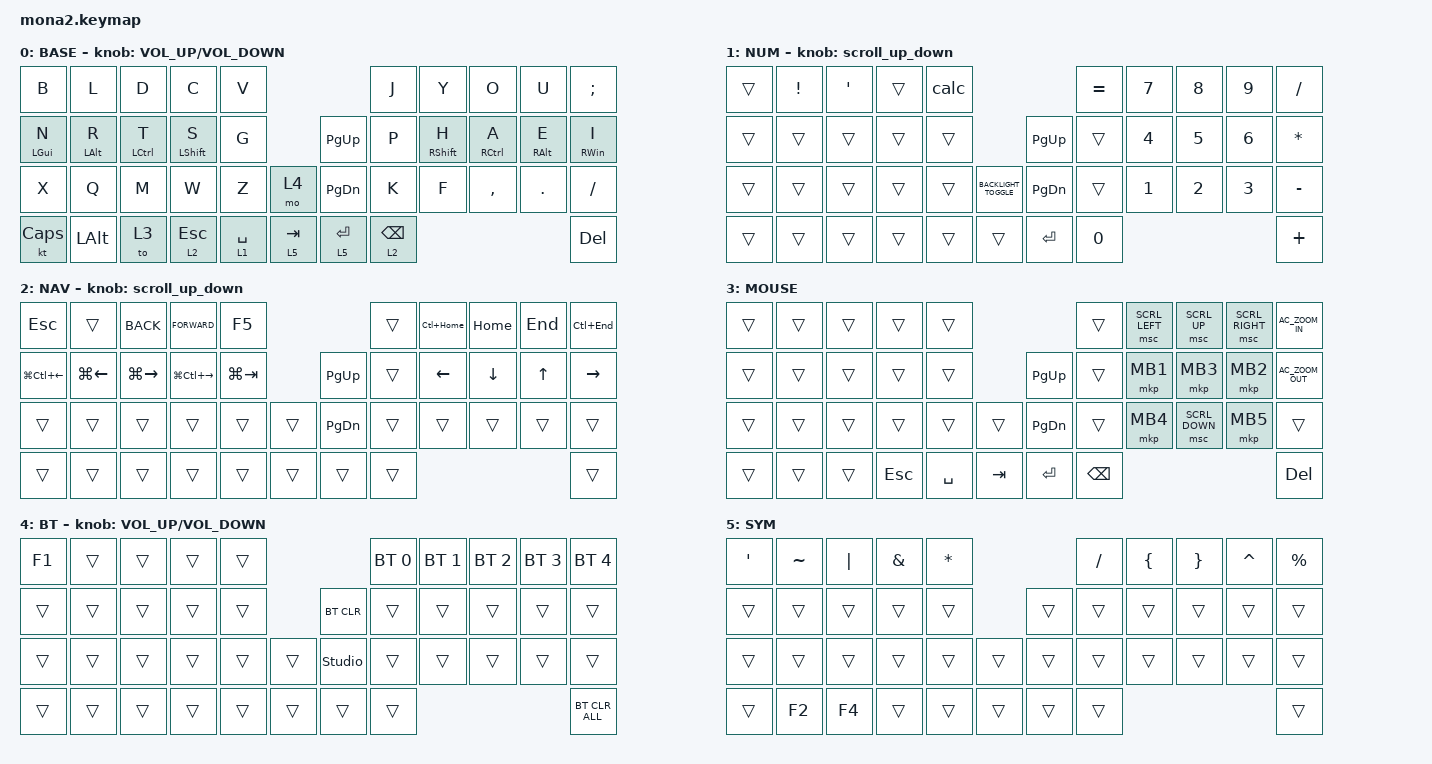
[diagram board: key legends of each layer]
/*
 * SPDX-License-Identifier: MIT
 */

#include <input/processors.dtsi>
#include <dt-bindings/zmk/input_transform.h>
#include <zephyr/dt-bindings/input/input-event-codes.h>
#include <behaviors.dtsi>
#include <dt-bindings/zmk/bt.h>
#include <dt-bindings/zmk/keys.h>
#include <dt-bindings/zmk/pointing.h>

/ {
    combos {
        compatible = "zmk,combos";

        combo1 {
            bindings = <&kp LEFT_BRACKET>;
            key-positions = <2 1>;
            layers = <0>;
        };

        combo2 {
            bindings = <&kp RIGHT_BRACKET>;
            key-positions = <7 8>;
            layers = <0>;
        };

        combo3 {
            timeout-ms = <100>;
            bindings = <&kp LEFT_PARENTHESIS>;
            key-positions = <12 11>;
            slow-release;
        };

        combo4 {
            timeout-ms = <100>;
            bindings = <&kp RIGHT_PARENTHESIS>;
            key-positions = <18 19>;
            slow-release;
        };

        combo5 {
            timeout-ms = <100>;
            bindings = <&kp LEFT_BRACE>;
            key-positions = <23 22>;
            slow-release;
        };

        combo6 {
            timeout-ms = <100>;
            bindings = <&kp RIGHT_BRACE>;
            key-positions = <30 31>;
            slow-release;
        };

        combo7 {
            timeout-ms = <150>;
            bindings = <&kp BACKSLASH>;
            key-positions = <4 5>;
            slow-release;
        };

        combo8 {
            timeout-ms = <150>;
            bindings = <&kp APOSTROPHE>;
            key-positions = <14 16>;
            slow-release;
        };

        undescore {
            bindings = <&kp UNDER>;
            key-positions = <7 8 6>;
        };

        amp {
            bindings = <&kp AMPERSAND>;
            key-positions = <25 28>;
        };

        type {
            bindings = <&type0>;
            key-positions = <41 33>;
        };

        CSP {
            bindings = <&CSP>;
            key-positions = <21 33>;
        };
    };

    behaviors {
        hm: hm {
            compatible = "zmk,behavior-hold-tap";
            label = "HM";
            bindings = <&kp>, <&kp>;

            #binding-cells = <2>;
            quick-tap-ms = <150>;
            flavor = "tap-preferred";
            hold-trigger-on-release;
            tapping-term-ms = <250>;
        };

        ltq: ltq {
            compatible = "zmk,behavior-hold-tap";
            label = "LTQ";
            bindings = <&mo>, <&kp>;

            #binding-cells = <2>;
            tapping-term-ms = <200>;
            quick-tap-ms = <180>;
        };

        scroll_up_down: mouse_wheel_up_down {
            compatible = "zmk,behavior-sensor-rotate";
            #sensor-binding-cells = <0>;
            bindings = <&msc SCRL_DOWN>, <&msc SCRL_UP>;

            tap-ms = <20>;
        };
    };

    macros {
        type0: type0 {
            compatible = "zmk,behavior-macro";
            #binding-cells = <0>;
            bindings = <&kp N3 &kp N0 &kp N0 &kp DLLR &kp LS(L) &kp I &kp P &kp K &kp N &kp O &kp LS(T) &kp N3 &kp N5>;
            label = "TYPE0";
        };

        CSP: CSP {
            compatible = "zmk,behavior-macro";
            #binding-cells = <0>;
            bindings = <&kp LS(LC(P))>;
            label = "CSP";
        };

        calc: calc {
            compatible = "zmk,behavior-macro";
            #binding-cells = <0>;
            bindings = <&kp LG(R) &kp C &kp A &kp L &kp C &kp ENTER>;
            label = "CALC";
        };
    };

    keymap {
        compatible = "zmk,keymap";

        BASE {
            bindings = <
&kp B           &kp L           &kp D        &kp C             &kp V                                      &kp J            &kp Y              &kp O        &kp U            &kp SEMICOLON
&hm LEFT_GUI N  &hm LEFT_ALT R  &hm LCTRL T  &hm LEFT_SHIFT S  &kp G                       &kp PAGE_UP    &kp P            &hm RIGHT_SHIFT H  &hm RCTRL A  &hm RIGHT_ALT E  &hm RIGHT_WIN I
&kp X           &kp Q           &kp M        &kp W             &kp Z        &mo 4          &kp PAGE_DOWN  &kp K            &kp F              &kp COMMA    &kp PERIOD       &kp SLASH
&kt CAPSLOCK    &kp LALT        &to 3        &lt 2 ESC         &lt 1 SPACE  &lt 5 TAB      &lt 5 ENTER    &lt 2 BACKSPACE                                                   &kp DEL
            >;

            sensor-bindings = <&inc_dec_kp C_VOLUME_UP C_VOLUME_DOWN>;
            display-name = "BASE";
        };

        NUM {
            bindings = <
&trans  &kp EXCL  &kp APOS  &trans  &calc                                              &kp EQUAL  &kp N7        &kp N8        &kp N9        &kp SLASH
&trans  &trans    &trans    &trans  &trans                              &kp PG_UP      &trans     &kp NUMBER_4  &kp N5        &kp NUMBER_6  &kp ASTERISK
&trans  &trans    &trans    &trans  &trans  &kp C_BACKLIGHT_TOGGLE      &kp PAGE_DOWN  &trans     &kp NUMBER_1  &kp NUMBER_2  &kp NUMBER_3  &kp MINUS
&trans  &trans    &trans    &trans  &trans  &trans                      &kp ENTER      &kp N0                                               &kp PLUS
            >;

            sensor-bindings = <&scroll_up_down>;
            display-name = "NUM";
        };

        NAV {
            bindings = <
&kp ESC                 &trans              &kp K_BACK     &kp K_FORWARD      &kp F5                                  &trans  &kp LC(HOME)  &kp HOME  &kp END  &kp LC(END)
&kp LG(LC(LEFT_ARROW))  &kp LG(LEFT_ARROW)  &kp LG(RIGHT)  &kp LG(LC(RIGHT))  &kp LG(TAB)              &kp PG_UP      &trans  &kp LEFT      &kp DOWN  &kp UP   &kp RIGHT
&trans                  &trans              &trans         &trans             &trans       &trans      &kp PAGE_DOWN  &trans  &trans        &trans    &trans   &trans
&trans                  &trans              &trans         &trans             &trans       &trans      &trans         &trans                                   &trans
            >;

            sensor-bindings = <&scroll_up_down>;
            display-name = "NAV";
        };

        MOUSE {
            bindings = <
&trans  &trans  &trans  &trans   &trans                                 &trans         &msc SCRL_LEFT  &msc SCRL_UP    &msc SCRL_RIGHT  &kp C_AC_ZOOM_IN
&trans  &trans  &trans  &trans   &trans                  &kp PG_UP      &trans         &mkp MB1        &mkp MB3        &mkp MB2         &kp C_AC_ZOOM_OUT
&trans  &trans  &trans  &trans   &trans     &trans       &kp PAGE_DOWN  &trans         &mkp MB4        &msc SCRL_DOWN  &mkp MB5         &trans
&trans  &trans  &trans  &kp ESC  &kp SPACE  &kp TAB      &kp ENTER      &kp BACKSPACE                                                   &kp DELETE
            >;

            display-name = "MOUSE";
        };

        BT {
            bindings = <
&kp F1  &trans  &trans  &trans  &trans                              &bt BT_SEL 0  &bt BT_SEL 1  &bt BT_SEL 2  &bt BT_SEL 3  &bt BT_SEL 4
&trans  &trans  &trans  &trans  &trans              &bt BT_CLR      &trans        &trans        &trans        &trans        &trans
&trans  &trans  &trans  &trans  &trans  &trans      &studio_unlock  &trans        &trans        &trans        &trans        &trans
&trans  &trans  &trans  &trans  &trans  &trans      &trans          &trans                                                  &bt BT_CLR_ALL
            >;

            sensor-bindings = <&inc_dec_kp C_VOLUME_UP C_VOLUME_DOWN>;
            display-name = "BT";
        };

        SYM {
            bindings = <
&kp SQT  &kp TILDE  &kp PIPE  &kp AMPERSAND  &kp ASTERISK                      &kp SLASH  &kp LEFT_BRACE  &kp RIGHT_BRACE  &kp CARET  &kp PERCENT
&trans   &trans     &trans    &trans         &trans                    &trans  &trans     &trans          &trans           &trans     &trans
&trans   &trans     &trans    &trans         &trans        &trans      &trans  &trans     &trans          &trans           &trans     &trans
&trans   &kp F2     &kp F4    &trans         &trans        &trans      &trans  &trans                                                 &trans
            >;
        };
    };
};
